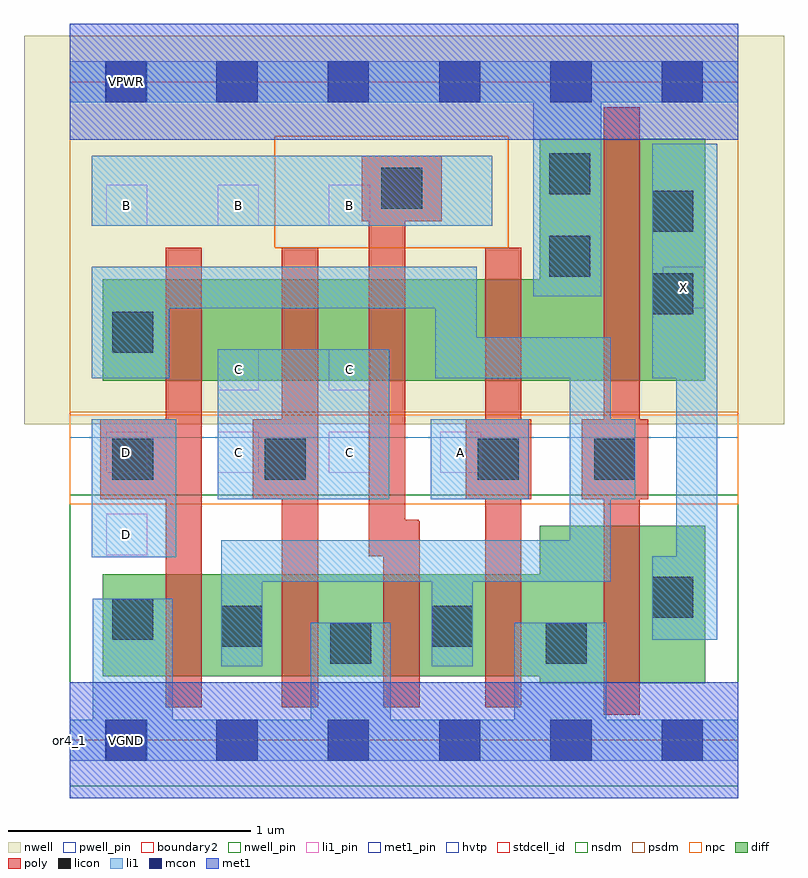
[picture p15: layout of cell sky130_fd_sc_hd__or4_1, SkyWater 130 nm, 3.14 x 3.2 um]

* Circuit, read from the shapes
.subckt sky130_fd_sc_hd__or4_1 A B C D VGND VNB VPB VPWR X
XM1 n1 D VGND VNB sky130_fd_pr__nfet_01v8 w=0.42 l=0.15
XM2 VGND C n1 VNB sky130_fd_pr__nfet_01v8 w=0.42 l=0.15
XM3 n1 B VGND VNB sky130_fd_pr__nfet_01v8 w=0.42 l=0.15
XM4 VGND A n1 VNB sky130_fd_pr__nfet_01v8 w=0.42 l=0.15
XM5 X n1 VGND VNB sky130_fd_pr__nfet_01v8 w=0.65 l=0.15
XM6 n2 D n1 VPB sky130_fd_pr__pfet_01v8_hvt w=0.42 l=0.15
XM7 n3 C n2 VPB sky130_fd_pr__pfet_01v8_hvt w=0.42 l=0.15
XM8 n4 B n3 VPB sky130_fd_pr__pfet_01v8_hvt w=0.42 l=0.15
XM9 VPWR A n4 VPB sky130_fd_pr__pfet_01v8_hvt w=0.42 l=0.15
XM10 X n1 VPWR VPB sky130_fd_pr__pfet_01v8_hvt w=1 l=0.15
.ends

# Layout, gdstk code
import gdstk
lib = gdstk.Library(unit=1e-6, precision=1e-09)
def R(c, l, rs):  # rectangles x0, y0, x1, y1
    for r in rs: c.add(gdstk.rectangle(r[:2], r[2:], *l))
def A(c, l, x, y, w, h, nx, ny, dx, dy):  # array of equal rectangles
    R(c, l, [(x+i*dx, y+j*dy, x+i*dx+w, y+j*dy+h) for i in range(nx) for j in range(ny)])
def P(c, l, *ps):  # polygons
    for p in ps: c.add(gdstk.Polygon(p, *l))
nwell_pin = (64, 16)
nwell = (64, 20)
diff = (65, 20)
poly = (66, 20)
licon = (66, 44)
li1_pin = (67, 16)
li1 = (67, 20)
mcon = (67, 44)
met1_pin = (68, 16)
met1 = (68, 20)
hvtp = (78, 44)
stdcell_id = (81, 4)
nsdm = (93, 44)
psdm = (94, 20)
npc = (95, 20)
pwell_pin = (122, 16)
boundary2 = (236, 0)

sky130_fd_sc_hd__or4_1 = lib.new_cell('sky130_fd_sc_hd__or4_1')
R(sky130_fd_sc_hd__or4_1, nwell_pin, [(0.15,2.635,0.32,2.805)])
R(sky130_fd_sc_hd__or4_1, nwell, [(-0.19,1.305,2.95,2.91)])
P(sky130_fd_sc_hd__or4_1, diff, [(2.625,0.885),(1.94,0.885),(1.94,0.685),(0.135,0.685),(0.135,0.265),(1.94,0.265),(1.94,0.235),(2.625,0.235)],
  [(2.625,2.485),(1.94,2.485),(1.94,1.905),(0.135,1.905),(0.135,1.485),(2.625,1.485)])
P(sky130_fd_sc_hd__or4_1, poly, [(2.39,1.325),(2.355,1.325),(2.355,2.615),(2.205,2.615),(2.205,1.325),(2.115,1.325),(2.115,0.995),(2.205,0.995),(2.205,0.105),(2.355,0.105),(2.355,0.995),(2.39,0.995)],
  [(1.905,1.325),(1.865,1.325),(1.865,2.035),(1.715,2.035),(1.715,1.325),(1.635,1.325),(1.635,0.995),(1.715,0.995),(1.715,0.135),(1.865,0.135),(1.865,0.995),(1.905,0.995)],
  [(1.535,2.415),(1.205,2.415),(1.205,2.145),(1.235,2.145),(1.235,0.76),(1.295,0.76),(1.295,0.135),(1.445,0.135),(1.445,0.905),(1.44,0.905),(1.44,0.91),(1.385,0.91),(1.385,2.145),(1.535,2.145)],
  [(1.025,2.035),(0.875,2.035),(0.875,1.325),(0.755,1.325),(0.755,0.995),(0.875,0.995),(0.875,0.135),(1.025,0.135)],
  [(0.545,2.035),(0.395,2.035),(0.395,1.325),(0.125,1.325),(0.125,0.995),(0.395,0.995),(0.395,0.135),(0.545,0.135)])
R(sky130_fd_sc_hd__or4_1, licon, [(1.075,0.315,1.245,0.485), (1.965,0.315,2.135,0.485), (0.625,0.385,0.795,0.555), (1.495,0.385,1.665,0.555), (0.175,0.415,0.345,0.585), (2.405,0.505,2.575,0.675), (0.175,1.075,0.345,1.245), (0.805,1.075,0.975,1.245), (1.685,1.075,1.855,1.245), (2.165,1.075,2.335,1.245), (0.175,1.6,0.345,1.77), (2.405,1.76,2.575,1.93), (1.98,1.915,2.15,2.085), (2.405,2.1,2.575,2.27), (1.285,2.195,1.455,2.365), (1.98,2.255,2.15,2.425)])
A(sky130_fd_sc_hd__or4_1, li1_pin, 0.15, 1.105, 0.17, 0.17, 4, 1, 0.46, 0)
A(sky130_fd_sc_hd__or4_1, li1_pin, 0.15, 2.125, 0.17, 0.17, 3, 1, 0.46, 0)
R(sky130_fd_sc_hd__or4_1, li1_pin, [(0.15,0.765,0.32,0.935), (0.61,1.445,0.78,1.615), (1.07,1.445,1.24,1.615), (2.45,1.785,2.62,1.955)])
R(sky130_fd_sc_hd__or4_1, li1, [(0.09,0.755,0.44,1.325), (0.61,0.995,1.32,1.615), (1.49,0.995,1.895,1.325), (0.09,2.125,1.745,2.415)])
P(sky130_fd_sc_hd__or4_1, li1, [(2.76,0.085),(2.215,0.085),(2.215,0.485),(1.835,0.485),(1.835,0.085),(1.325,0.085),(1.325,0.485),(0.995,0.485),(0.995,0.085),(0.425,0.085),(0.425,0.585),(0.095,0.585),(0.095,0.085),(0,0.085),(0,-0.085),(2.76,-0.085)],
  [(2.76,2.805),(0,2.805),(0,2.635),(1.915,2.635),(1.915,1.835),(2.195,1.835),(2.195,2.635),(2.76,2.635)],
  [(2.675,2.465),(2.405,2.465),(2.405,1.495),(2.505,1.495),(2.505,0.76),(2.405,0.76),(2.405,0.415),(2.675,0.415)],
  [(2.335,1.325),(2.235,1.325),(2.235,1.665),(1.68,1.665),(1.68,1.955),(0.09,1.955),(0.09,1.495),(0.41,1.495),(0.41,1.785),(1.51,1.785),(1.51,1.495),(2.065,1.495),(2.065,0.825),(0.625,0.825),(0.625,0.305),(0.795,0.305),(0.795,0.655),(1.495,0.655),(1.495,0.305),(1.665,0.305),(1.665,0.655),(2.235,0.655),(2.235,0.995),(2.335,0.995)])
A(sky130_fd_sc_hd__or4_1, mcon, 0.145, -0.085, 0.17, 0.17, 6, 2, 0.46, 2.72)
R(sky130_fd_sc_hd__or4_1, met1_pin, [(0.15,-0.085,0.32,0.085), (0.15,2.635,0.32,2.805)])
R(sky130_fd_sc_hd__or4_1, hvtp, [(0,1.25,2.76,2.72)])
R(sky130_fd_sc_hd__or4_1, stdcell_id, [(0,0,2.76,2.72)])
R(sky130_fd_sc_hd__or4_1, nsdm, [(0,-0.19,2.76,1.015)])
P(sky130_fd_sc_hd__or4_1, psdm, [(2.76,2.91),(1.81,2.91),(1.81,2.035),(0.845,2.035),(0.845,2.495),(1.81,2.495),(1.81,2.91),(0,2.91),(0,1.355),(2.76,1.355)])
R(sky130_fd_sc_hd__or4_1, npc, [(0,0.975,2.76,1.345), (0.845,2.035,1.81,2.495)])
R(sky130_fd_sc_hd__or4_1, pwell_pin, [(0.15,-0.085,0.32,0.085)])
R(sky130_fd_sc_hd__or4_1, boundary2, [(0,0,2.76,2.72)])
sky130_fd_sc_hd__or4_1.add(gdstk.FlexPath([(0,2.72),(2.76,2.72)], 0.48, ends="flush", simple_path=True, layer=68, datatype=20))  # met1
sky130_fd_sc_hd__or4_1.add(gdstk.FlexPath([(0,0),(2.76,0)], 0.48, ends="flush", simple_path=True, layer=68, datatype=20))  # met1
sky130_fd_sc_hd__or4_1.add(gdstk.Label('C', (1.155,1.19), layer=67, texttype=5))
sky130_fd_sc_hd__or4_1.add(gdstk.Label('A', (1.615,1.19), layer=67, texttype=5))
sky130_fd_sc_hd__or4_1.add(gdstk.Label('X', (2.535,1.87), layer=67, texttype=5))
sky130_fd_sc_hd__or4_1.add(gdstk.Label('C', (0.695,1.19), layer=67, texttype=5))
sky130_fd_sc_hd__or4_1.add(gdstk.Label('B', (1.155,2.21), layer=67, texttype=5))
sky130_fd_sc_hd__or4_1.add(gdstk.Label('B', (0.695,2.21), layer=67, texttype=5))
sky130_fd_sc_hd__or4_1.add(gdstk.Label('C', (0.695,1.53), layer=67, texttype=5))
sky130_fd_sc_hd__or4_1.add(gdstk.Label('B', (0.235,2.21), layer=67, texttype=5))
sky130_fd_sc_hd__or4_1.add(gdstk.Label('C', (1.155,1.53), layer=67, texttype=5))
sky130_fd_sc_hd__or4_1.add(gdstk.Label('D', (0.235,1.19), layer=67, texttype=5))
sky130_fd_sc_hd__or4_1.add(gdstk.Label('D', (0.235,0.85), layer=67, texttype=5))
sky130_fd_sc_hd__or4_1.add(gdstk.Label('VPWR', (0.235,2.72), layer=68, texttype=5))
sky130_fd_sc_hd__or4_1.add(gdstk.Label('VGND', (0.235,0), layer=68, texttype=5))
sky130_fd_sc_hd__or4_1.add(gdstk.Label('VPB', (0.235,2.72), layer=64, texttype=5))
sky130_fd_sc_hd__or4_1.add(gdstk.Label('VNB', (0.235,0), layer=64, texttype=59))
sky130_fd_sc_hd__or4_1.add(gdstk.Label('or4_1', (0,0), layer=83, texttype=44))

lib.write_gds('sky130_fd_sc_hd__or4_1.gds')
